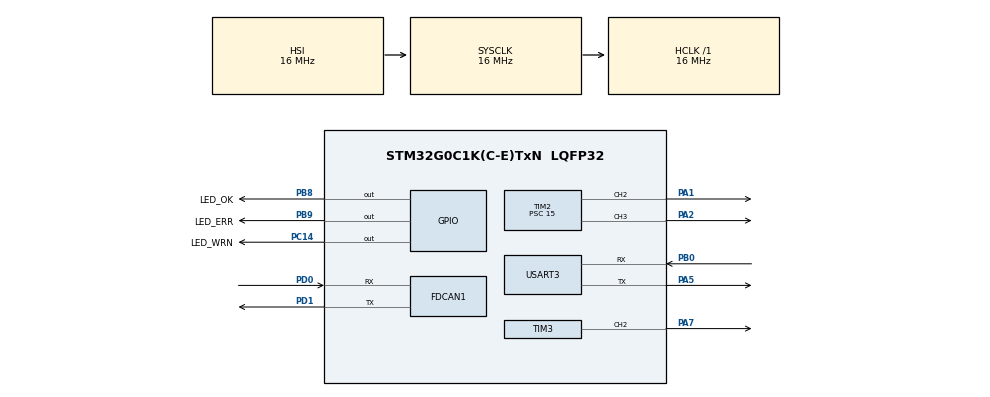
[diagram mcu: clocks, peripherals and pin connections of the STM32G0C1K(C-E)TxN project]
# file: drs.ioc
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FDCAN1.CalculateBaudRateNominal=1000000
FDCAN1.CalculateTimeBitNominal=1000
FDCAN1.CalculateTimeQuantumNominal=125.0
FDCAN1.NominalPrescaler=2
FDCAN1.NominalTimeSeg1=5
FDCAN1.NominalTimeSeg2=2
Mcu.Family=STM32G0
Mcu.Name=STM32G0C1K(C-E)TxN
Mcu.Package=LQFP32
NVIC.TIM16_FDCAN_IT0_IRQn=true\:0\:0\:false\:false\:true\:true\:true\:true
NVIC.TIM17_FDCAN_IT1_IRQn=true\:0\:0\:false\:false\:true\:true\:true\:true
PA1.Signal=S_TIM2_CH2
PA2.Signal=S_TIM2_CH3
PA5.Mode=Asynchronous
PA5.Signal=USART3_TX
PA7.Signal=S_TIM3_CH2
PB0.Mode=Asynchronous
PB0.Signal=USART3_RX
PB8.GPIO_Label=LED_OK
PB8.Signal=GPIO_Output
PB9.GPIO_Label=LED_ERR
PB9.Signal=GPIO_Output
PC14-OSC32_IN\ (PC14).GPIO_Label=LED_WRN
PC14-OSC32_IN\ (PC14).PinState=GPIO_PIN_RESET
PC14-OSC32_IN\ (PC14).Signal=GPIO_Output
PD0.GPIO_Speed=GPIO_SPEED_FREQ_VERY_HIGH
PD0.Mode=FDCAN_Activate
PD0.Signal=FDCAN1_RX
PD1.GPIO_Speed=GPIO_SPEED_FREQ_VERY_HIGH
PD1.Mode=FDCAN_Activate
PD1.Signal=FDCAN1_TX
ProjectManager.HeapSize=0x200
ProjectManager.StackSize=0x400
ProjectManager.TargetToolchain=STM32CubeIDE
RCC.ADCFreq_Value=16000000
RCC.AHBFreq_Value=16000000
RCC.CSICalibrationValue=32
RCC.CortexFreq_Value=16000000
RCC.EXTERNAL_CLOCK_VALUE=48000
RCC.Flash_Delay=FLASH_PROGRAMMING_DELAY_2
RCC.HCLKFreq_Value=16000000
RCC.HSE_VALUE=8000000
RCC.HSI48_VALUE=48000000
RCC.HSI_VALUE=16000000
RCC.LSE_VALUE=32768
RCC.PLL1_VCI_Range=RCC_PLL1_VCIRANGE_1
RCC.PLL2_VCI_Range=RCC_PLL2_VCIRANGE_3
RCC.PLL3_VCI_Range=RCC_PLL3_VCIRANGE_3
RCC.RCC_TIM_PRescaler_Selection=RCC_TIMPRES_DESACTIVATED
RCC.SYSCLKFreq_VALUE=16000000
RCC.USBFreq_Value=48000000
RCC.VCOOutputFreq_Value=128000000
SH.S_TIM2_CH2.0=TIM2_CH2,PWM Generation2 CH2
SH.S_TIM2_CH3.0=TIM2_CH3,PWM Generation3 CH3
SH.S_TIM3_CH2.0=TIM3_CH2,PWM Generation2 CH2
TIM2.Channel-PWM\ Generation2\ CH2=TIM_CHANNEL_2
TIM2.Channel-PWM\ Generation3\ CH3=TIM_CHANNEL_3
TIM2.Period=19999
TIM2.Prescaler=15
TIM3.Channel-PWM\ Generation2\ CH2=TIM_CHANNEL_2
TIM3.Period=9999
TIM3.Prescaler=54
USART3.VirtualMode-Asynchronous=VM_ASYNC
VP_SYS_VS_DBSignals.Mode=DisableDeadBatterySignals
board=custom

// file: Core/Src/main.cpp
/* USER CODE BEGIN Header */
/**
  ******************************************************************************
  * @file           : main.c
  * @brief          : Main program body
  ******************************************************************************
  * @attention
  *
  * Copyright (c) 2025 STMicroelectronics.
  * All rights reserved.
  *
  * This software is licensed under terms that can be found in the LICENSE file
  * in the root directory of this software component.
  * If no LICENSE file comes with this software, it is provided AS-IS.
  *
  ******************************************************************************
  */
/* USER CODE END Header */
#include "main.h"

/* USER CODE BEGIN Includes */
#include <stdbool.h>
#include "CAN\lib\can_interface.hpp"
/* USER CODE END Includes */

/* USER CODE BEGIN PD */
#define BRAKE_THRESHOLD 100
#define SERVO_POSITION_OPEN 1000
#define SERVO_POSITION_NEUTRAL 1500
#define SERVO_POSITION_CLOSED 2000
/* USER CODE END PD */

FDCAN_HandleTypeDef hfdcan1;

TIM_HandleTypeDef htim2;
TIM_HandleTypeDef htim3;

UART_HandleTypeDef huart3;

/* USER CODE BEGIN PV */
bool drs_status = false;
uint16_t brakePressureFront = 0;
uint16_t brakePressureRear = 0;
/* USER CODE END PV */

void SystemClock_Config(void);
static void MX_GPIO_Init(void);
static void MX_TIM2_Init(void);
static void MX_FDCAN1_Init(void);
static void MX_USART3_UART_Init(void);
static void MX_TIM3_Init(void);

int main(void)
{

  /* MCU Configuration--------------------------------------------------------*/

  /* Reset of all peripherals, Initializes the Flash interface and the Systick. */
  HAL_Init();

  /* Configure the system clock */
  SystemClock_Config();

  /* Initialize all configured peripherals */
  MX_GPIO_Init();
  MX_TIM2_Init();
  MX_FDCAN1_Init();
  MX_USART3_UART_Init();
  MX_TIM3_Init();
  /* USER CODE BEGIN 2 */
  HAL_TIM_PWM_Start(&htim2, TIM_CHANNEL_3);
  HAL_FDCAN_Start(&hfdcan1);
  /* USER CODE END 2 */

  /* Infinite loop */
  /* USER CODE BEGIN WHILE */
  while (1)
  {
	  	  	  	  // LED TEST
//	  	  	  	  HAL_GPIO_TogglePin(LED_OK_GPIO_Port, LED_OK_Pin); // Toggle LED_OK
//	  	  	  	  HAL_Delay(500);
//	  	  	  	  HAL_GPIO_TogglePin(LED_ERR_GPIO_Port, LED_ERR_Pin);
//	  	  	  	  HAL_Delay(500);
//	  	  	  	  HAL_GPIO_TogglePin(LED_WRN_GPIO_Port, LED_WRN_Pin); // Toggle LED_WRN
//	  	  	  	  HAL_Delay(500);

	  	  	  	  // SERVO TEST 1
//	  	  	  	  __HAL_TIM_SET_COMPARE(&htim2, TIM_CHANNEL_3, SERVO_POSITION_NEUTRAL); //NEUTRAL
//	  	  	  	  HAL_Delay(2000);
//	  	  	  	  __HAL_TIM_SET_COMPARE(&htim2, TIM_CHANNEL_3, SERVO_POSITION_OPEN); //MAX
//	  	  	  	  HAL_Delay(2000);
	  	  	  	  // SERVO & DIODE TEST
//	  	  		  __HAL_TIM_SET_COMPARE(&htim2, TIM_CHANNEL_3, 3700); //MIN
//	  	  		  HAL_GPIO_TogglePin(LED_OK_GPIO_Port, LED_OK_Pin);
//	  	  		  HAL_Delay(1000);
//	  	  		  __HAL_TIM_SET_COMPARE(&htim2, TIM_CHANNEL_3, 6818); //NEUTRAL BY CALCULATIONS
//	  	  		  HAL_GPIO_TogglePin(LED_ERR_GPIO_Port, LED_ERR_Pin);
//	  	  		  HAL_Delay(1000);
	  	  	  	  // CAN
	  	  	  	  if(PUTM_CAN::can.get_driver_input_main_new_data())
	  	  	  	  {
	  	  	  		  auto driver_input_data = PUTM_CAN::can.get_driver_input_main();
	  	  	  		  brakePressureFront = driver_input_data.brakePressureFront;
	  	  	  		  brakePressureRear = driver_input_data.brakePressureRear;
	  	  	  	  }
	  	  	  	  // Tu masz ustawic odpowiedni warunek otworzenia lotki
	  	  	  	  // drs ON + brak hamowania!!!!!!!!!!!!!!!!!!!!!!!!!!!!!
	  	  	  	  if(drs_status)
	  	  	  	  {
	  	  	  		  HAL_GPIO_WritePin(LED_OK_GPIO_Port, LED_OK_Pin, GPIO_PIN_RESET);
	  	  	  		  __HAL_TIM_SET_COMPARE(&htim2, TIM_CHANNEL_3, SERVO_POSITION_NEUTRAL);
	  	  	  	  }
	  	  	  	  else
	  	  	  	  {
	  	  	  		  HAL_GPIO_WritePin(LED_ERR_GPIO_Port, LED_ERR_Pin, GPIO_PIN_RESET);
	  	  	  		  __HAL_TIM_SET_COMPARE(&htim2, TIM_CHANNEL_3, SERVO_POSITION_CLOSED);
	  	  	  	  }
//	  	  	  	  HAL_Delay(10);
    /* USER CODE END WHILE */

  }
}

void SystemClock_Config(void)
{
  RCC_OscInitTypeDef RCC_OscInitStruct = {0};
  RCC_ClkInitTypeDef RCC_ClkInitStruct = {0};

  /** Configure the main internal regulator output voltage
  */
  HAL_PWREx_ControlVoltageScaling(PWR_REGULATOR_VOLTAGE_SCALE1);

  /** Initializes the RCC Oscillators according to the specified parameters
  * in the RCC_OscInitTypeDef structure.
  */
  RCC_OscInitStruct.OscillatorType = RCC_OSCILLATORTYPE_HSI;
  RCC_OscInitStruct.HSIState = RCC_HSI_ON;
  RCC_OscInitStruct.HSIDiv = RCC_HSI_DIV1;
  RCC_OscInitStruct.HSICalibrationValue = RCC_HSICALIBRATION_DEFAULT;
  RCC_OscInitStruct.PLL.PLLState = RCC_PLL_NONE;
  if (HAL_RCC_OscConfig(&RCC_OscInitStruct) != HAL_OK)
  {
    Error_Handler();
  }

  /** Initializes the CPU, AHB and APB buses clocks
  */
  RCC_ClkInitStruct.ClockType = RCC_CLOCKTYPE_HCLK|RCC_CLOCKTYPE_SYSCLK
                              |RCC_CLOCKTYPE_PCLK1;
  RCC_ClkInitStruct.SYSCLKSource = RCC_SYSCLKSOURCE_HSI;
  RCC_ClkInitStruct.AHBCLKDivider = RCC_SYSCLK_DIV1;
  RCC_ClkInitStruct.APB1CLKDivider = RCC_HCLK_DIV1;

  if (HAL_RCC_ClockConfig(&RCC_ClkInitStruct, FLASH_LATENCY_0) != HAL_OK)
  {
    Error_Handler();
  }
}

static void MX_FDCAN1_Init(void)
{

  hfdcan1.Instance = FDCAN1;
  hfdcan1.Init.ClockDivider = FDCAN_CLOCK_DIV1;
  hfdcan1.Init.FrameFormat = FDCAN_FRAME_CLASSIC;
  hfdcan1.Init.Mode = FDCAN_MODE_NORMAL;
  hfdcan1.Init.AutoRetransmission = DISABLE;
  hfdcan1.Init.TransmitPause = DISABLE;
  hfdcan1.Init.ProtocolException = DISABLE;
  hfdcan1.Init.NominalPrescaler = 2;
  hfdcan1.Init.NominalSyncJumpWidth = 1;
  hfdcan1.Init.NominalTimeSeg1 = 5;
  hfdcan1.Init.NominalTimeSeg2 = 2;
  hfdcan1.Init.DataPrescaler = 1;
  hfdcan1.Init.DataSyncJumpWidth = 1;
  hfdcan1.Init.DataTimeSeg1 = 1;
  hfdcan1.Init.DataTimeSeg2 = 1;
  hfdcan1.Init.StdFiltersNbr = 0;
  hfdcan1.Init.ExtFiltersNbr = 0;
  hfdcan1.Init.TxFifoQueueMode = FDCAN_TX_FIFO_OPERATION;
  if (HAL_FDCAN_Init(&hfdcan1) != HAL_OK)
  {
    Error_Handler();
  }

}

static void MX_TIM2_Init(void)
{

  TIM_MasterConfigTypeDef sMasterConfig = {0};
  TIM_OC_InitTypeDef sConfigOC = {0};

  htim2.Instance = TIM2;
  htim2.Init.Prescaler = 15;
  htim2.Init.CounterMode = TIM_COUNTERMODE_UP;
  htim2.Init.Period = 19999;
  htim2.Init.ClockDivision = TIM_CLOCKDIVISION_DIV1;
  htim2.Init.AutoReloadPreload = TIM_AUTORELOAD_PRELOAD_DISABLE;
  if (HAL_TIM_PWM_Init(&htim2) != HAL_OK)
  {
    Error_Handler();
  }
  sMasterConfig.MasterOutputTrigger = TIM_TRGO_RESET;
  sMasterConfig.MasterSlaveMode = TIM_MASTERSLAVEMODE_DISABLE;
  if (HAL_TIMEx_MasterConfigSynchronization(&htim2, &sMasterConfig) != HAL_OK)
  {
    Error_Handler();
  }
  sConfigOC.OCMode = TIM_OCMODE_PWM1;
  sConfigOC.Pulse = 0;
  sConfigOC.OCPolarity = TIM_OCPOLARITY_HIGH;
  sConfigOC.OCFastMode = TIM_OCFAST_DISABLE;
  if (HAL_TIM_PWM_ConfigChannel(&htim2, &sConfigOC, TIM_CHANNEL_2) != HAL_OK)
  {
    Error_Handler();
  }
  if (HAL_TIM_PWM_ConfigChannel(&htim2, &sConfigOC, TIM_CHANNEL_3) != HAL_OK)
  {
    Error_Handler();
  }
  HAL_TIM_MspPostInit(&htim2);

}

static void MX_TIM3_Init(void)
{

  TIM_MasterConfigTypeDef sMasterConfig = {0};
  TIM_OC_InitTypeDef sConfigOC = {0};

  htim3.Instance = TIM3;
  htim3.Init.Prescaler = 54;
  htim3.Init.CounterMode = TIM_COUNTERMODE_UP;
  htim3.Init.Period = 9999;
  htim3.Init.ClockDivision = TIM_CLOCKDIVISION_DIV1;
  htim3.Init.AutoReloadPreload = TIM_AUTORELOAD_PRELOAD_DISABLE;
  if (HAL_TIM_PWM_Init(&htim3) != HAL_OK)
  {
    Error_Handler();
  }
  sMasterConfig.MasterOutputTrigger = TIM_TRGO_RESET;
  sMasterConfig.MasterSlaveMode = TIM_MASTERSLAVEMODE_DISABLE;
  if (HAL_TIMEx_MasterConfigSynchronization(&htim3, &sMasterConfig) != HAL_OK)
  {
    Error_Handler();
  }
  sConfigOC.OCMode = TIM_OCMODE_PWM1;
  sConfigOC.Pulse = 0;
  sConfigOC.OCPolarity = TIM_OCPOLARITY_HIGH;
  sConfigOC.OCFastMode = TIM_OCFAST_DISABLE;
  if (HAL_TIM_PWM_ConfigChannel(&htim3, &sConfigOC, TIM_CHANNEL_2) != HAL_OK)
  {
    Error_Handler();
  }
  HAL_TIM_MspPostInit(&htim3);

}

static void MX_USART3_UART_Init(void)
{

  huart3.Instance = USART3;
  huart3.Init.BaudRate = 115200;
  huart3.Init.WordLength = UART_WORDLENGTH_8B;
  huart3.Init.StopBits = UART_STOPBITS_1;
  huart3.Init.Parity = UART_PARITY_NONE;
  huart3.Init.Mode = UART_MODE_TX_RX;
  huart3.Init.HwFlowCtl = UART_HWCONTROL_NONE;
  huart3.Init.OverSampling = UART_OVERSAMPLING_16;
  huart3.Init.OneBitSampling = UART_ONE_BIT_SAMPLE_DISABLE;
  huart3.Init.ClockPrescaler = UART_PRESCALER_DIV1;
  huart3.AdvancedInit.AdvFeatureInit = UART_ADVFEATURE_NO_INIT;
  if (HAL_UART_Init(&huart3) != HAL_OK)
  {
    Error_Handler();
  }
  if (HAL_UARTEx_SetTxFifoThreshold(&huart3, UART_TXFIFO_THRESHOLD_1_8) != HAL_OK)
  {
    Error_Handler();
  }
  if (HAL_UARTEx_SetRxFifoThreshold(&huart3, UART_RXFIFO_THRESHOLD_1_8) != HAL_OK)
  {
    Error_Handler();
  }
  if (HAL_UARTEx_DisableFifoMode(&huart3) != HAL_OK)
  {
    Error_Handler();
  }

}

static void MX_GPIO_Init(void)
{
  GPIO_InitTypeDef GPIO_InitStruct = {0};

  /* GPIO Ports Clock Enable */
  __HAL_RCC_GPIOB_CLK_ENABLE();
  __HAL_RCC_GPIOC_CLK_ENABLE();
  __HAL_RCC_GPIOA_CLK_ENABLE();
  __HAL_RCC_GPIOD_CLK_ENABLE();

  /*Configure GPIO pin Output Level */
  HAL_GPIO_WritePin(GPIOB, LED_ERR_Pin|LED_OK_Pin, GPIO_PIN_RESET);

  /*Configure GPIO pin Output Level */
  HAL_GPIO_WritePin(LED_WRN_GPIO_Port, LED_WRN_Pin, GPIO_PIN_RESET);

  /*Configure GPIO pins : LED_ERR_Pin LED_OK_Pin */
  GPIO_InitStruct.Pin = LED_ERR_Pin|LED_OK_Pin;
  GPIO_InitStruct.Mode = GPIO_MODE_OUTPUT_PP;
  GPIO_InitStruct.Pull = GPIO_NOPULL;
  GPIO_InitStruct.Speed = GPIO_SPEED_FREQ_LOW;
  HAL_GPIO_Init(GPIOB, &GPIO_InitStruct);

  /*Configure GPIO pin : LED_WRN_Pin */
  GPIO_InitStruct.Pin = LED_WRN_Pin;
  GPIO_InitStruct.Mode = GPIO_MODE_OUTPUT_PP;
  GPIO_InitStruct.Pull = GPIO_NOPULL;
  GPIO_InitStruct.Speed = GPIO_SPEED_FREQ_LOW;
  HAL_GPIO_Init(LED_WRN_GPIO_Port, &GPIO_InitStruct);

}

void Error_Handler(void)
{
  __disable_irq();
  while (1)
  {
  }
}
